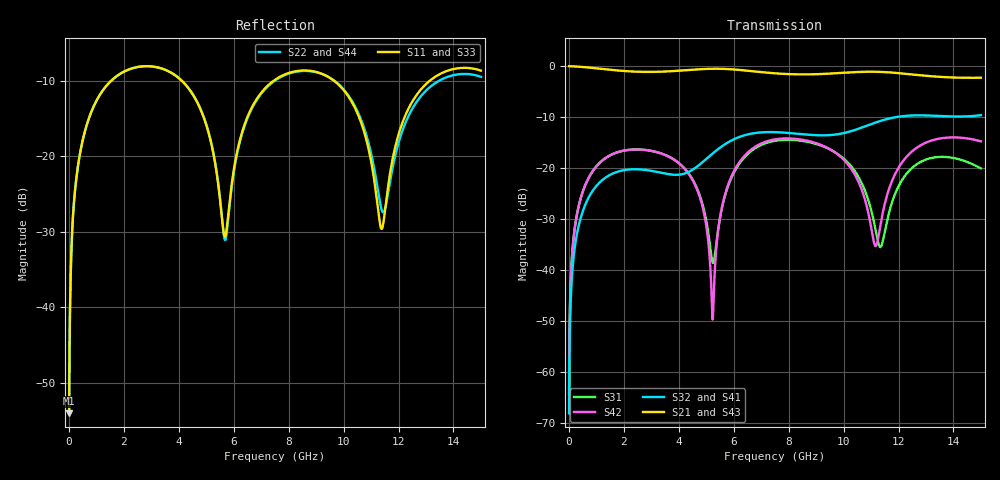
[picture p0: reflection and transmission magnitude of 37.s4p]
! Created with skrf 1.8.0 (http://scikit-rf.org).
# GHz S RI R 50.0
!freq ReS11 ImS11 ReS12 ImS12 ReS13 ImS13
! ReS14 ImS14
! ReS21 ImS21 ReS22 ImS22 ReS23 ImS23
! ReS24 ImS24
! ReS31 ImS31 ReS32 ImS32 ReS33 ImS33
! ReS34 ImS34
! ReS41 ImS41 ReS42 ImS42 ReS43 ImS43
! ReS44 ImS44
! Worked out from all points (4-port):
!   2499 points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, 5 MHz to 15 GHz, reference 50 ohm
!   strongest paths, dB at 5 MHz, 3.476 GHz, 7.19 GHz, 11.1 GHz, 15 GHz:
!     S21: 0.0, -1.1, -1.3, -1.1, -2.3
!     S43: 0.0, -1.1, -1.3, -1.1, -2.3
!     S32: -68.2, -21.1, -13.0, -11.2, -9.6
!     S41: -68.2, -21.1, -13.0, -11.2, -9.6
!     S42: -64.3, -17.4, -14.8, -34.4, -14.8
!     S31: -64.3, -17.4, -15.1, -30.4, -20.1
!   lowest |S11| = -54.0 dB at 5 MHz (marker M1), VSWR 1.00, Z = 50.2 + j0.121 ohm
!   |S11| at or under -10 dB: start of sweep to 1.537 GHz; 4.108 GHz to 7.453 GHz (3.344 GHz wide, 57.9 % of centre); 9.654 GHz to 13.14 GHz (3.484 GHz wide, 30.6 % of centre)
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0.005  0.00158 0.0012  0.9984 -0.00307  7.84e-05 0.000607  -7.63e-05 -0.000384
       0.9984 -0.00307  0.00158 0.0012  -7.63e-05 -0.000384  7.84e-05 0.000607
       7.84e-05 0.000607  -7.63e-05 -0.000384  0.00158 0.0012  0.9984 -0.00307
       -7.63e-05 -0.000384  7.84e-05 0.000607  0.9984 -0.00307  0.00158 0.0012
0.3126303  0.0225 0.0794  0.9693 -0.1915  0.01 0.0362  -0.00836 -0.0227
           0.9693 -0.1915  0.0225 0.0794  -0.00837 -0.0227  0.01 0.0362
           0.01 0.0362  -0.00837 -0.0227  0.0225 0.0794  0.9693 -0.1915
           -0.00836 -0.0227  0.01 0.0362  0.9693 -0.1915  0.0225 0.0794
1.569404  0.2629 0.1829  0.5667 -0.7201  0.1215 0.0614  -0.0871 -0.00912
          0.5667 -0.7201  0.2628 0.1831  -0.0871 -0.00907  0.1214 0.0616
          0.1215 0.0614  -0.0871 -0.00907  0.2629 0.1829  0.5667 -0.7201
          -0.0871 -0.00912  0.1214 0.0616  0.5667 -0.7201  0.2629 0.1831
5.233431  0.0522 -0.0967  -0.8902 -0.3068  -0.0114 -0.00292  -0.0413 0.1326
          -0.8902 -0.3068  0.0518 -0.0981  -0.0408 0.1328  -0.00325 -0.000238
          -0.0114 -0.00292  -0.0408 0.1328  0.0522 -0.0974  -0.8901 -0.3068
          -0.0413 0.1326  -0.00325 -0.000238  -0.8901 -0.3068  0.0523 -0.0987
8.884952  0.3613 -0.0551  0.0296 0.8304  0.1516 -0.0883  0.1949 -0.0768
          0.0296 0.8304  0.3608 -0.0462  0.1954 -0.0787  0.154 -0.0914
          0.1516 -0.0883  0.1954 -0.0787  0.3608 -0.0523  0.0302 0.8306
          0.1949 -0.0768  0.154 -0.0914  0.0302 0.8306  0.3605 -0.0495
11.38599  0.033 0.000844  0.864 0.1431  -0.0133 0.0113  0.0407 -0.2893
          0.864 0.1431  0.0428 -0.0111  0.0368 -0.2898  0.0286 0.0144
          -0.0133 0.0113  0.0368 -0.2898  0.0392 0.00201  0.8642 0.1417
          0.0407 -0.2893  0.0286 0.0144  0.8642 0.1417  0.0366 -0.0118
15  0.3607 -0.0786  -0.1254 -0.7588  0.014 -0.0982  -0.3215 0.0739
    -0.1254 -0.7588  0.333 -0.0437  -0.3206 0.0786  0.0135 -0.1821
    0.014 -0.0982  -0.3206 0.0786  0.36 -0.0799  -0.1279 -0.7586
    -0.3215 0.0739  0.0135 -0.1821  -0.1279 -0.7586  0.3317 -0.0446
